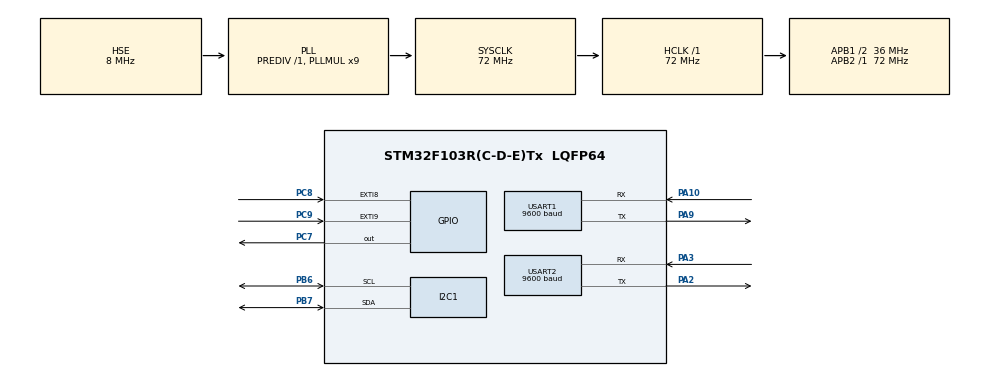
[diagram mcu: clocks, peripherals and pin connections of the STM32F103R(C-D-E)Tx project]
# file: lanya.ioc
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Mcu.Family=STM32F1
Mcu.Name=STM32F103R(C-D-E)Tx
Mcu.Package=LQFP64
NVIC.EXTI9_5_IRQn=true\:0\:0\:false\:false\:true\:true\:true\:true
NVIC.PriorityGroup=NVIC_PRIORITYGROUP_4
NVIC.TIM7_IRQn=true\:1\:0\:true\:false\:true\:true\:true\:true
NVIC.USART1_IRQn=true\:0\:0\:false\:false\:true\:true\:true\:true
NVIC.USART2_IRQn=true\:0\:0\:false\:false\:true\:true\:true\:true
PA10.Mode=Asynchronous
PA10.Signal=USART1_RX
PA13.Mode=Serial_Wire
PA13.Signal=SYS_JTMS-SWDIO
PA14.Mode=Serial_Wire
PA14.Signal=SYS_JTCK-SWCLK
PA2.Mode=Asynchronous
PA2.Signal=USART2_TX
PA3.Mode=Asynchronous
PA3.Signal=USART2_RX
PA9.Mode=Asynchronous
PA9.Signal=USART1_TX
PB6.Mode=I2C
PB6.Signal=I2C1_SCL
PB7.Mode=I2C
PB7.Signal=I2C1_SDA
PC7.Signal=GPIO_Output
PC8.GPIO_ModeDefaultEXTI=GPIO_MODE_IT_FALLING
PC8.GPIO_PuPd=GPIO_NOPULL
PC8.Signal=GPXTI8
PC9.GPIO_ModeDefaultEXTI=GPIO_MODE_IT_FALLING
PC9.GPIO_PuPd=GPIO_NOPULL
PC9.Signal=GPXTI9
PD0-OSC_IN.Mode=HSE-External-Oscillator
PD0-OSC_IN.Signal=RCC_OSC_IN
PD1-OSC_OUT.Mode=HSE-External-Oscillator
PD1-OSC_OUT.Signal=RCC_OSC_OUT
ProjectManager.HeapSize=0x200
ProjectManager.StackSize=0x400
ProjectManager.TargetToolchain=MDK-ARM V5.32
RCC.AHBFreq_Value=72000000
RCC.APB1CLKDivider=RCC_HCLK_DIV2
RCC.APB1Freq_Value=36000000
RCC.APB1TimFreq_Value=72000000
RCC.APB2Freq_Value=72000000
RCC.APB2TimFreq_Value=72000000
RCC.HCLKFreq_Value=72000000
RCC.PLLMUL=RCC_PLL_MUL9
RCC.PLLSourceVirtual=RCC_PLLSOURCE_HSE
RCC.SYSCLKFreq_VALUE=72000000
RCC.SYSCLKSource=RCC_SYSCLKSOURCE_PLLCLK
RCC.USBFreq_Value=72000000
TIM7.Period=200-1
TIM7.Prescaler=7200-1
USART1.BaudRate=9600
USART1.VirtualMode=VM_ASYNC
USART2.BaudRate=9600
USART2.VirtualMode=VM_ASYNC
VP_TIM7_VS_ClockSourceINT.Mode=Enable_Timer
board=custom

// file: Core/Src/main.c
/* USER CODE BEGIN Header */
/**
  ******************************************************************************
  * @file           : main.c
  * @brief          : Main program body
  ******************************************************************************
  * @attention
  *
  * Copyright (c) 2024 STMicroelectronics.
  * All rights reserved.
  *
  * This software is licensed under terms that can be found in the LICENSE file
  * in the root directory of this software component.
  * If no LICENSE file comes with this software, it is provided AS-IS.
  *
  ******************************************************************************
  */
/* USER CODE END Header */
#include "main.h"
#include "i2c.h"
#include "tim.h"
#include "usart.h"
#include "gpio.h"

/* USER CODE BEGIN Includes */
#include "stm32f1xx_it.h"
#include "shijue.h"
#include "bsp_sys.h"
#include "oled.h"
#include "bsp_delay.h"
#include "stdio.h"
#include "shijue.h"
/* USER CODE END Includes */

/* USER CODE BEGIN PM */

int fputc(int ch,FILE *f){
	HAL_UART_Transmit(&huart2,(uint8_t *)&ch,1,0xffff);
}
void HMI_send_string(char* name, char* showdata)
{
    // printf("t0.txt=\"%d\"\xff\xff\xff", num);
    printf("%s=\"%s\"\xff\xff\xff", name, showdata);
}
void HMI_send_number(char* name, int num)
{
    // printf("t0.txt=\"%d\"\xff\xff\xff", num);
    printf("%s=%d\xff\xff\xff", name, num);
}
void HMI_send_float(char* name, float num)
{
    // printf("t0.txt=\"%d\"\xff\xff\xff", num);
    printf("%s=%d\xff\xff\xff", name, (int)(num * 100));
}
void HMI_send_shuzu(int id,int num)
{
    // printf("t0.txt=\"%d\"\xff\xff\xff", num);
	printf("p[5].b[%d].val=%d\xff\xff\xff",id,num);
}

/* USER CODE END PM */

/* USER CODE BEGIN PV */

#include <stdio.h>

char strArray[24][3] = {
        "A3", "A6", "A5", "A2", "A1", "A4",
        "B6", "B3", "B2", "B5", "B4", "B1",
        "C3", "C6", "C5", "C2", "C1", "C4",
        "D6", "D5", "D4", "D1", "D2", "D3",
    };

/* USER CODE END PV */

void SystemClock_Config(void);
/* USER CODE BEGIN PFP */
u8 send_time=0;uint8_t buf[5];u8 send_time2=0;
u8 pos_huowu=30;
/* USER CODE END PFP */

/* USER CODE BEGIN 0 */
u8 str=1;//定义要发送的数据
u8 str_buff1[64];
u8 duiying[24][24]={0};
u8 hangxian_num=0;
u8 a=0,b=0;
/* USER CODE END 0 */

int main(void)
{
  /* USER CODE BEGIN 1 */
u8 i=0;
  /* USER CODE END 1 */

  /* MCU Configuration--------------------------------------------------------*/

  /* Reset of all peripherals, Initializes the Flash interface and the Systick. */
  HAL_Init();

  /* Configure the system clock */
  SystemClock_Config();

  /* Initialize all configured peripherals */
  MX_GPIO_Init();
  MX_USART1_UART_Init();
  MX_TIM7_Init();
  MX_I2C1_Init();
  MX_USART2_UART_Init();
  /* USER CODE BEGIN 2 */
	HAL_TIM_Base_Start_IT(&htim7);  //开启总中断
	HAL_UART_Receive_IT(&huart1,&uart1_rxbuff,1);  //通信
	HAL_UART_Receive_IT(&huart2,&uart2_rxbuff,1);  //通信
	u8 last_huowu_num=0;
	u8 task2_flag=0;
	u8 task2_shibie_flag=0;
	u8 last_huowu=0,task1_over=0;
//	delay_ms(100);    //延时一下，让OLED正常输出
//	oled_init();
	//delay_ms(100);    //延时一下，让OLED正常输出

 // oled_clear();
	//__HAL_UART_ENABLE_IT(&huart1,UART_IT_RXNE);    //串口1
//char a="X";
//sprintf((char *)str_buff1, "POS_X %d", Pos_x.S16);

  // 在OLED上显示

  /* USER CODE END 2 */

  /* Infinite loop */
  while (1)
  {

    /* USER CODE BEGIN 3 */

		 //HAL_GPIO_TogglePin(GPIOC, GPIO_PIN_7);
   //oled_display_ok_flag(0, 0);

		if(send_time>=15){
		BlueToothTransmitData();
			send_time=0;
		}
		if(send_time2>=5){
		HMI_send_number("page0.n0.val", state);
		if(num!=0){
		HMI_send_number("page1.n1.val", huowu_num[num-1]);
		HMI_send_string("page1.t2.txt", strArray[num-1]);
		HMI_send_shuzu( num,huowu_num[num-1]);
		}
		if(jieshou_flag==1&&huowu_num[24]!=0) {
			for(int i=0;i<=23;i++){
				if(huowu_num[24]==huowu_num[i]){
					hangxian_num=i;

				}
			}
			HMI_send_string("page2.b3.txt", strArray[hangxian_num]);
			HMI_send_string("page4.t0.txt", strArray[hangxian_num]);
			HMI_send_number("page4.n0.val", huowu_num[24]);
		}
		send_time2=0;
	}

	}
  /* USER CODE END 3 */
}

void SystemClock_Config(void)
{
  RCC_OscInitTypeDef RCC_OscInitStruct = {0};
  RCC_ClkInitTypeDef RCC_ClkInitStruct = {0};

  /** Initializes the RCC Oscillators according to the specified parameters
  * in the RCC_OscInitTypeDef structure.
  */
  RCC_OscInitStruct.OscillatorType = RCC_OSCILLATORTYPE_HSE;
  RCC_OscInitStruct.HSEState = RCC_HSE_ON;
  RCC_OscInitStruct.HSEPredivValue = RCC_HSE_PREDIV_DIV1;
  RCC_OscInitStruct.HSIState = RCC_HSI_ON;
  RCC_OscInitStruct.PLL.PLLState = RCC_PLL_ON;
  RCC_OscInitStruct.PLL.PLLSource = RCC_PLLSOURCE_HSE;
  RCC_OscInitStruct.PLL.PLLMUL = RCC_PLL_MUL9;
  if (HAL_RCC_OscConfig(&RCC_OscInitStruct) != HAL_OK)
  {
    Error_Handler();
  }

  /** Initializes the CPU, AHB and APB buses clocks
  */
  RCC_ClkInitStruct.ClockType = RCC_CLOCKTYPE_HCLK|RCC_CLOCKTYPE_SYSCLK
                              |RCC_CLOCKTYPE_PCLK1|RCC_CLOCKTYPE_PCLK2;
  RCC_ClkInitStruct.SYSCLKSource = RCC_SYSCLKSOURCE_PLLCLK;
  RCC_ClkInitStruct.AHBCLKDivider = RCC_SYSCLK_DIV1;
  RCC_ClkInitStruct.APB1CLKDivider = RCC_HCLK_DIV2;
  RCC_ClkInitStruct.APB2CLKDivider = RCC_HCLK_DIV1;

  if (HAL_RCC_ClockConfig(&RCC_ClkInitStruct, FLASH_LATENCY_2) != HAL_OK)
  {
    Error_Handler();
  }
}

void Error_Handler(void)
{
  __disable_irq();
  while (1)
  {
  }
}
